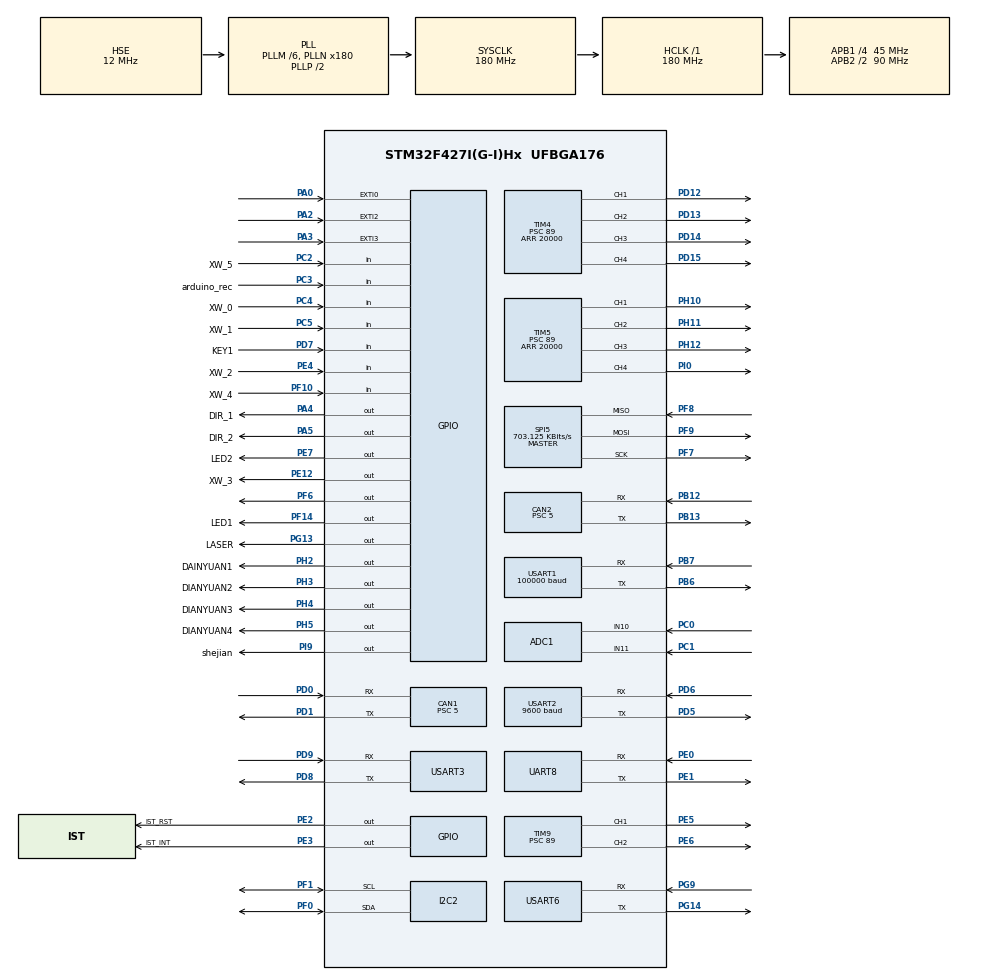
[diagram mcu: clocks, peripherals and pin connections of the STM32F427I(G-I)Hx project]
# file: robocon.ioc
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ADC1.Channel-0\#ChannelRegularConversion=ADC_CHANNEL_10
ADC1.Channel-1\#ChannelRegularConversion=ADC_CHANNEL_11
ADC1.ContinuousConvMode=ENABLE
ADC1.DMAContinuousRequests=ENABLE
ADC1.NbrOfConversion=2
ADC1.NbrOfConversionFlag=1
ADC1.Rank-0\#ChannelRegularConversion=1
ADC1.Rank-1\#ChannelRegularConversion=2
ADC1.SamplingTime-0\#ChannelRegularConversion=ADC_SAMPLETIME_3CYCLES
ADC1.SamplingTime-1\#ChannelRegularConversion=ADC_SAMPLETIME_3CYCLES
ADC1.ScanConvMode=ENABLE
ADC1.master=1
CAN1.ABOM=ENABLE
CAN1.BS1=CAN_BS1_3TQ
CAN1.BS2=CAN_BS2_5TQ
CAN1.CalculateBaudRate=1000000
CAN1.CalculateTimeBit=999.99
CAN1.CalculateTimeQuantum=111.11111111111111
CAN1.Prescaler=5
CAN1.SJW=CAN_SJW_1TQ
CAN2.ABOM=ENABLE
CAN2.BS1=CAN_BS1_3TQ
CAN2.BS2=CAN_BS2_5TQ
CAN2.CalculateBaudRate=1000000
CAN2.CalculateTimeBit=999.99
CAN2.CalculateTimeQuantum=111.11111111111111
CAN2.Prescaler=5
CAN2.SJW=CAN_SJW_1TQ
Dma.ADC1.3.Direction=DMA_PERIPH_TO_MEMORY
Dma.ADC1.3.FIFOMode=DMA_FIFOMODE_DISABLE
Dma.ADC1.3.Instance=DMA2_Stream0
Dma.ADC1.3.MemDataAlignment=DMA_MDATAALIGN_WORD
Dma.ADC1.3.MemInc=DMA_MINC_ENABLE
Dma.ADC1.3.Mode=DMA_CIRCULAR
Dma.ADC1.3.PeriphDataAlignment=DMA_PDATAALIGN_WORD
Dma.ADC1.3.PeriphInc=DMA_PINC_DISABLE
Dma.ADC1.3.Priority=DMA_PRIORITY_MEDIUM
Dma.Request0=USART1_RX
Dma.Request1=USART2_RX
Dma.Request2=USART6_RX
Dma.Request3=ADC1
Dma.Request4=USART2_TX
Dma.Request5=USART6_TX
Dma.USART1_RX.0.Direction=DMA_PERIPH_TO_MEMORY
Dma.USART1_RX.0.FIFOMode=DMA_FIFOMODE_DISABLE
Dma.USART1_RX.0.Instance=DMA2_Stream2
Dma.USART1_RX.0.MemDataAlignment=DMA_MDATAALIGN_BYTE
Dma.USART1_RX.0.MemInc=DMA_MINC_ENABLE
Dma.USART1_RX.0.Mode=DMA_CIRCULAR
Dma.USART1_RX.0.PeriphDataAlignment=DMA_PDATAALIGN_BYTE
Dma.USART1_RX.0.PeriphInc=DMA_PINC_DISABLE
Dma.USART1_RX.0.Priority=DMA_PRIORITY_MEDIUM
Dma.USART2_RX.1.Direction=DMA_PERIPH_TO_MEMORY
Dma.USART2_RX.1.FIFOMode=DMA_FIFOMODE_DISABLE
Dma.USART2_RX.1.Instance=DMA1_Stream5
Dma.USART2_RX.1.MemDataAlignment=DMA_MDATAALIGN_BYTE
Dma.USART2_RX.1.MemInc=DMA_MINC_ENABLE
Dma.USART2_RX.1.Mode=DMA_CIRCULAR
Dma.USART2_RX.1.PeriphDataAlignment=DMA_PDATAALIGN_BYTE
Dma.USART2_RX.1.PeriphInc=DMA_PINC_DISABLE
Dma.USART2_RX.1.Priority=DMA_PRIORITY_MEDIUM
Dma.USART2_TX.4.Direction=DMA_MEMORY_TO_PERIPH
Dma.USART2_TX.4.FIFOMode=DMA_FIFOMODE_DISABLE
Dma.USART2_TX.4.Instance=DMA1_Stream6
Dma.USART2_TX.4.MemDataAlignment=DMA_MDATAALIGN_BYTE
Dma.USART2_TX.4.MemInc=DMA_MINC_ENABLE
Dma.USART2_TX.4.Mode=DMA_NORMAL
Dma.USART2_TX.4.PeriphDataAlignment=DMA_PDATAALIGN_BYTE
Dma.USART2_TX.4.PeriphInc=DMA_PINC_DISABLE
Dma.USART2_TX.4.Priority=DMA_PRIORITY_MEDIUM
Dma.USART6_RX.2.Direction=DMA_PERIPH_TO_MEMORY
Dma.USART6_RX.2.FIFOMode=DMA_FIFOMODE_DISABLE
Dma.USART6_RX.2.Instance=DMA2_Stream1
Dma.USART6_RX.2.MemDataAlignment=DMA_MDATAALIGN_BYTE
Dma.USART6_RX.2.MemInc=DMA_MINC_ENABLE
Dma.USART6_RX.2.Mode=DMA_CIRCULAR
Dma.USART6_RX.2.PeriphDataAlignment=DMA_PDATAALIGN_BYTE
Dma.USART6_RX.2.PeriphInc=DMA_PINC_DISABLE
Dma.USART6_RX.2.Priority=DMA_PRIORITY_MEDIUM
Dma.USART6_TX.5.Direction=DMA_MEMORY_TO_PERIPH
Dma.USART6_TX.5.FIFOMode=DMA_FIFOMODE_DISABLE
Dma.USART6_TX.5.Instance=DMA2_Stream6
Dma.USART6_TX.5.MemDataAlignment=DMA_MDATAALIGN_BYTE
Dma.USART6_TX.5.MemInc=DMA_MINC_ENABLE
Dma.USART6_TX.5.Mode=DMA_NORMAL
Dma.USART6_TX.5.PeriphDataAlignment=DMA_PDATAALIGN_BYTE
Dma.USART6_TX.5.PeriphInc=DMA_PINC_DISABLE
Dma.USART6_TX.5.Priority=DMA_PRIORITY_MEDIUM
FREERTOS.Tasks01=defaultTask,0,128,StartDefaultTask,Default,NULL,Dynamic,NULL,NULL;myTask02,0,128,StartTask02,Default,NULL,Dynamic,NULL,NULL;myTask03,0,128,StartTask03,Default,NULL,Dynamic,NULL,NULL;myTask04,0,128,StartTask04,Default,NULL,Dynamic,NULL,NULL
Mcu.Family=STM32F4
Mcu.Name=STM32F427I(G-I)Hx
Mcu.Package=UFBGA176
NVIC.CAN1_RX0_IRQn=true\:5\:0\:false\:false\:true\:true\:true\:true
NVIC.CAN1_TX_IRQn=true\:5\:0\:false\:false\:true\:true\:true\:true
NVIC.CAN2_RX0_IRQn=true\:5\:0\:false\:false\:true\:false\:true\:true
NVIC.CAN2_TX_IRQn=true\:5\:0\:false\:false\:true\:false\:true\:true
NVIC.DMA1_Stream5_IRQn=true\:5\:0\:false\:false\:true\:true\:true\:true
NVIC.DMA1_Stream6_IRQn=true\:5\:0\:false\:false\:true\:true\:false\:true
NVIC.DMA2_Stream0_IRQn=true\:5\:0\:false\:false\:true\:true\:false\:true
NVIC.DMA2_Stream1_IRQn=true\:5\:0\:false\:false\:true\:true\:true\:true
NVIC.DMA2_Stream2_IRQn=true\:5\:0\:false\:false\:true\:true\:true\:true
NVIC.DMA2_Stream6_IRQn=true\:5\:0\:false\:false\:true\:true\:false\:true
NVIC.PriorityGroup=NVIC_PRIORITYGROUP_4
NVIC.TIM6_DAC_IRQn=true\:0\:0\:false\:false\:true\:false\:true\:true
NVIC.TIM7_IRQn=true\:5\:0\:false\:false\:true\:true\:true\:true
NVIC.TimeBase=TIM6_DAC_IRQn
NVIC.TimeBaseIP=TIM6
NVIC.UART8_IRQn=true\:5\:0\:false\:false\:true\:true\:true\:true
NVIC.USART1_IRQn=true\:5\:0\:true\:false\:true\:true\:true\:true
NVIC.USART2_IRQn=true\:5\:0\:true\:false\:true\:false\:true\:true
NVIC.USART6_IRQn=true\:5\:0\:true\:false\:true\:true\:true\:true
PA0/WKUP.Signal=GPXTI0
PA13.Mode=Serial_Wire
PA13.Signal=SYS_JTMS-SWDIO
PA14.Mode=Serial_Wire
PA14.Signal=SYS_JTCK-SWCLK
PA2.Signal=GPXTI2
PA3.Signal=GPXTI3
PA4.GPIO_Label=DIR_1
PA4.Signal=GPIO_Output
PA5.GPIO_Label=DIR_2
PA5.Signal=GPIO_Output
PB12.Mode=CAN_Activate
PB12.Signal=CAN2_RX
PB13.Mode=CAN_Activate
PB13.Signal=CAN2_TX
PB6.GPIO_PuPd=GPIO_PULLUP
PB6.Mode=Asynchronous
PB6.Signal=USART1_TX
PB7.GPIO_PuPd=GPIO_PULLUP
PB7.Mode=Asynchronous
PB7.Signal=USART1_RX
PC0.Signal=ADCx_IN10
PC1.Signal=ADCx_IN11
PC2.GPIO_Label=XW_5
PC2.GPIO_PuPd=GPIO_PULLUP
PC2.Signal=GPIO_Input
PC3.GPIO_Label=arduino_rec
PC3.GPIO_PuPd=GPIO_PULLUP
PC3.Signal=GPIO_Input
PC4.GPIO_Label=XW_0
PC4.GPIO_PuPd=GPIO_PULLUP
PC4.Signal=GPIO_Input
PC5.GPIO_Label=XW_1
PC5.GPIO_PuPd=GPIO_PULLUP
PC5.Signal=GPIO_Input
PD0.Mode=CAN_Activate
PD0.Signal=CAN1_RX
PD1.Mode=CAN_Activate
PD1.Signal=CAN1_TX
PD12.Signal=S_TIM4_CH1
PD13.Signal=S_TIM4_CH2
PD14.Signal=S_TIM4_CH3
PD15.Signal=S_TIM4_CH4
PD5.Mode=Asynchronous
PD5.Signal=USART2_TX
PD6.Mode=Asynchronous
PD6.Signal=USART2_RX
PD7.GPIO_Label=KEY1
PD7.Signal=GPIO_Input
PD8.Mode=Asynchronous
PD8.Signal=USART3_TX
PD9.Mode=Asynchronous
PD9.Signal=USART3_RX
PE0.Mode=Asynchronous
PE0.Signal=UART8_RX
PE1.Mode=Asynchronous
PE1.Signal=UART8_TX
PE12.GPIO_Label=XW_3
PE12.GPIO_Speed=GPIO_SPEED_FREQ_HIGH
PE12.PinState=GPIO_PIN_SET
PE12.Signal=GPIO_Output
PE2.GPIO_Label=IST_RST
PE2.PinState=GPIO_PIN_SET
PE2.Signal=GPIO_Output
PE3.GPIO_Label=IST_INT
PE3.Signal=GPIO_Output
PE4.GPIO_Label=XW_2
PE4.GPIO_PuPd=GPIO_PULLUP
PE4.Signal=GPIO_Input
PE5.Signal=S_TIM9_CH1
PE6.Signal=S_TIM9_CH2
PE7.GPIO_Label=LED2
PE7.Signal=GPIO_Output
PF0.Mode=I2C
PF0.Signal=I2C2_SDA
PF1.Mode=I2C
PF1.Signal=I2C2_SCL
PF10.GPIO_Label=XW_4
PF10.GPIO_PuPd=GPIO_PULLUP
PF10.Signal=GPIO_Input
PF14.GPIO_Label=LED1
PF14.Signal=GPIO_Output
PF6.Signal=GPIO_Output
PF7.Mode=Full_Duplex_Master
PF7.Signal=SPI5_SCK
PF8.Mode=Full_Duplex_Master
PF8.Signal=SPI5_MISO
PF9.Mode=Full_Duplex_Master
PF9.Signal=SPI5_MOSI
PG13.GPIO_Label=LASER
PG13.Signal=GPIO_Output
PG14.Mode=Asynchronous
PG14.Signal=USART6_TX
PG9.Mode=Asynchronous
PG9.Signal=USART6_RX
PH0/OSC_IN.Mode=HSE-External-Oscillator
PH0/OSC_IN.Signal=RCC_OSC_IN
PH1/OSC_OUT.Mode=HSE-External-Oscillator
PH1/OSC_OUT.Signal=RCC_OSC_OUT
PH10.Signal=S_TIM5_CH1
PH11.Signal=S_TIM5_CH2
PH12.Signal=S_TIM5_CH3
PH2.GPIO_Label=DAINYUAN1
PH2.GPIO_Speed=GPIO_SPEED_FREQ_MEDIUM
PH2.PinState=GPIO_PIN_SET
PH2.Signal=GPIO_Output
PH3.GPIO_Label=DIANYUAN2
PH3.GPIO_Speed=GPIO_SPEED_FREQ_MEDIUM
PH3.PinState=GPIO_PIN_SET
PH3.Signal=GPIO_Output
PH4.GPIO_Label=DIANYUAN3
PH4.GPIO_Speed=GPIO_SPEED_FREQ_MEDIUM
PH4.PinState=GPIO_PIN_SET
PH4.Signal=GPIO_Output
PH5.GPIO_Label=DIANYUAN4
PH5.GPIO_Speed=GPIO_SPEED_FREQ_MEDIUM
PH5.PinState=GPIO_PIN_SET
PH5.Signal=GPIO_Output
PI0.Signal=S_TIM5_CH4
PI9.GPIO_Label=shejian
PI9.Signal=GPIO_Output
ProjectManager.HeapSize=0x200
ProjectManager.StackSize=0x400
ProjectManager.TargetToolchain=MDK-ARM V5
RCC.48MHZClocksFreq_Value=90000000
RCC.AHBFreq_Value=180000000
RCC.APB1CLKDivider=RCC_HCLK_DIV4
RCC.APB1Freq_Value=45000000
RCC.APB1TimFreq_Value=90000000
RCC.APB2CLKDivider=RCC_HCLK_DIV2
RCC.APB2Freq_Value=90000000
RCC.APB2TimFreq_Value=180000000
RCC.CortexFreq_Value=180000000
RCC.HCLKFreq_Value=180000000
RCC.HSE_VALUE=12000000
RCC.HSI_VALUE=16000000
RCC.LSE_VALUE=32768
RCC.PLLM=6
RCC.PLLN=180
RCC.PLLSourceVirtual=RCC_PLLSOURCE_HSE
RCC.SYSCLKFreq_VALUE=180000000
RCC.SYSCLKSource=RCC_SYSCLKSOURCE_PLLCLK
RCC.VCOOutputFreq_Value=360000000
SH.ADCx_IN10.0=ADC1_IN10,IN10
SH.ADCx_IN11.0=ADC1_IN11,IN11
SH.S_TIM4_CH1.0=TIM4_CH1,PWM Generation1 CH1
SH.S_TIM4_CH2.0=TIM4_CH2,PWM Generation2 CH2
SH.S_TIM4_CH3.0=TIM4_CH3,PWM Generation3 CH3
SH.S_TIM4_CH4.0=TIM4_CH4,PWM Generation4 CH4
SH.S_TIM5_CH1.0=TIM5_CH1,PWM Generation1 CH1
SH.S_TIM5_CH2.0=TIM5_CH2,PWM Generation2 CH2
SH.S_TIM5_CH3.0=TIM5_CH3,PWM Generation3 CH3
SH.S_TIM5_CH4.0=TIM5_CH4,PWM Generation4 CH4
SH.S_TIM9_CH1.0=TIM9_CH1,PWM Generation1 CH1
SH.S_TIM9_CH2.0=TIM9_CH2,PWM Generation2 CH2
SPI5.BaudRatePrescaler=SPI_BAUDRATEPRESCALER_128
SPI5.CalculateBaudRate=703.125 KBits/s
SPI5.Direction=SPI_DIRECTION_2LINES
SPI5.Mode=SPI_MODE_MASTER
SPI5.VirtualType=VM_MASTER
TIM4.Channel-PWM\ Generation1\ CH1=TIM_CHANNEL_1
TIM4.Channel-PWM\ Generation2\ CH2=TIM_CHANNEL_2
TIM4.Channel-PWM\ Generation3\ CH3=TIM_CHANNEL_3
TIM4.Channel-PWM\ Generation4\ CH4=TIM_CHANNEL_4
TIM4.Period=20000
TIM4.Prescaler=89
TIM5.Channel-PWM\ Generation1\ CH1=TIM_CHANNEL_1
TIM5.Channel-PWM\ Generation2\ CH2=TIM_CHANNEL_2
TIM5.Channel-PWM\ Generation3\ CH3=TIM_CHANNEL_3
TIM5.Channel-PWM\ Generation4\ CH4=TIM_CHANNEL_4
TIM5.Period=20000
TIM5.Prescaler=89
TIM7.Period=5000
TIM7.Prescaler=89
TIM9.Channel-PWM\ Generation1\ CH1=TIM_CHANNEL_1
TIM9.Channel-PWM\ Generation2\ CH2=TIM_CHANNEL_2
TIM9.Period=20000
TIM9.Prescaler=89
UART8.VirtualMode=Asynchronous
USART1.BaudRate=100000
USART1.Parity=PARITY_EVEN
USART1.VirtualMode=VM_ASYNC
USART2.BaudRate=9600
USART2.VirtualMode=VM_ASYNC
USART3.VirtualMode=VM_ASYNC
USART6.VirtualMode=VM_ASYNC
VP_FREERTOS_VS_CMSIS_V1.Mode=CMSIS_V1
VP_SYS_VS_tim6.Mode=TIM6
VP_TIM7_VS_ClockSourceINT.Mode=Enable_Timer
board=demo

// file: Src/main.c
/* USER CODE BEGIN Header */
/**
  ******************************************************************************
  * @file           : main.c
  * @brief          : Main program body
  ******************************************************************************
  * @attention
  *
  * <h2><center>&copy; Copyright (c) 2021 STMicroelectronics.
  * All rights reserved.</center></h2>
  *
  * This software component is licensed by ST under Ultimate Liberty license
  * SLA0044, the "License"; You may not use this file except in compliance with
  * the License. You may obtain a copy of the License at:
  *                             www.st.com/SLA0044
  *
  ******************************************************************************
  */
/* USER CODE END Header */
#include "main.h"
#include "cmsis_os.h"
#include "adc.h"
#include "can.h"
#include "dma.h"
#include "i2c.h"
#include "spi.h"
#include "tim.h"
#include "usart.h"
#include "gpio.h"

/* USER CODE BEGIN Includes */
#include "stm32f4xx_hal.h"
#include "bsp_imu.h"
#include "stdio.h"
#include "bsp_uart.h"
#include "moter.h"
#include "control.h"
#include "bsp_can.h"
#include "task.h"
#define BUFFER_SIZE 100
volatile uint8_t rx_len = 0, rx_len2 = 0, rx_len3 = 0;                      //接收一帧数据的长度
volatile uint8_t recv_end_flag = 0, recv_end_flag2 = 0, recv_end_flag3 = 0,recv_cmd_flag2=0; //一帧数据接收完成标志
uint8_t rx_buffer[100] = {0}, rx_buffer2[100] = {0}, rx_buffer3[100] = {0}; //接收数据缓存数组
extern DMA_HandleTypeDef hdma_usart6_rx;
extern rc_info_t rc;
extern float orignal_yaw, yaw;

/* USER CODE END Includes */

/* USER CODE BEGIN PV */
/* Private variables ---------------------------------------------------------*/

/* USER CODE END PV */

void SystemClock_Config(void);
void MX_FREERTOS_Init(void);
/* USER CODE BEGIN PFP */
/* Private function prototypes -----------------------------------------------*/

/* USER CODE END PFP */

/* USER CODE BEGIN 0 */
void HAL_UART_RxCpltCallback(UART_HandleTypeDef *huart)
{
  /* Prevent unused argument(s) compilation warning */
  UNUSED(huart);
  /* NOTE: This function should not be modified, when the callback is needed,
             the HAL_UART_RxCpltCallback could be implemented in the user file
     */
}
/* USER CODE END 0 */

int main(void)
{

  /* MCU Configuration--------------------------------------------------------*/

  /* Reset of all peripherals, Initializes the Flash interface and the Systick. */
  HAL_Init();

  /* Configure the system clock */
  SystemClock_Config();

  /* Initialize all configured peripherals */
  MX_GPIO_Init();
  MX_DMA_Init();
  MX_CAN1_Init();
  MX_CAN2_Init();
  MX_SPI5_Init();
  MX_USART1_UART_Init();
  MX_USART2_UART_Init();
  MX_USART6_UART_Init();
  MX_ADC1_Init();
  MX_TIM7_Init();
  MX_USART3_UART_Init();
  MX_TIM9_Init();
  MX_TIM4_Init();
  MX_TIM5_Init();
  MX_I2C2_Init();
  MX_UART8_Init();
  /* USER CODE BEGIN 2 */
  HAL_TIM_PWM_Start(&htim9, TIM_CHANNEL_1);
  HAL_TIM_PWM_Start(&htim9, TIM_CHANNEL_2);
	HAL_TIM_PWM_Start(&htim4, TIM_CHANNEL_1);
	HAL_TIM_PWM_Start(&htim4, TIM_CHANNEL_2);
	HAL_TIM_PWM_Start(&htim4, TIM_CHANNEL_3);
	HAL_TIM_PWM_Start(&htim4, TIM_CHANNEL_4);
  dbus_uart_init(); //dbus
  mpu_device_init();
	init_quaternion();

  ////    HAL_Delay(2000);
  /* USER CODE END 2 */

  /* Call init function for freertos objects (in freertos.c) */
  MX_FREERTOS_Init();
  /* Start scheduler */
  osKernelStart();

  /* We should never get here as control is now taken by the scheduler */
  /* Infinite loop */
  while (1)
  {

  }
}

void SystemClock_Config(void)
{
  RCC_OscInitTypeDef RCC_OscInitStruct = {0};
  RCC_ClkInitTypeDef RCC_ClkInitStruct = {0};

  /** Configure the main internal regulator output voltage
  */
  __HAL_RCC_PWR_CLK_ENABLE();
  __HAL_PWR_VOLTAGESCALING_CONFIG(PWR_REGULATOR_VOLTAGE_SCALE1);
  /** Initializes the RCC Oscillators according to the specified parameters
  * in the RCC_OscInitTypeDef structure.
  */
  RCC_OscInitStruct.OscillatorType = RCC_OSCILLATORTYPE_HSE;
  RCC_OscInitStruct.HSEState = RCC_HSE_ON;
  RCC_OscInitStruct.PLL.PLLState = RCC_PLL_ON;
  RCC_OscInitStruct.PLL.PLLSource = RCC_PLLSOURCE_HSE;
  RCC_OscInitStruct.PLL.PLLM = 6;
  RCC_OscInitStruct.PLL.PLLN = 180;
  RCC_OscInitStruct.PLL.PLLP = RCC_PLLP_DIV2;
  RCC_OscInitStruct.PLL.PLLQ = 4;
  if (HAL_RCC_OscConfig(&RCC_OscInitStruct) != HAL_OK)
  {
    Error_Handler();
  }
  /** Activate the Over-Drive mode
  */
  if (HAL_PWREx_EnableOverDrive() != HAL_OK)
  {
    Error_Handler();
  }
  /** Initializes the CPU, AHB and APB buses clocks
  */
  RCC_ClkInitStruct.ClockType = RCC_CLOCKTYPE_HCLK|RCC_CLOCKTYPE_SYSCLK
                              |RCC_CLOCKTYPE_PCLK1|RCC_CLOCKTYPE_PCLK2;
  RCC_ClkInitStruct.SYSCLKSource = RCC_SYSCLKSOURCE_PLLCLK;
  RCC_ClkInitStruct.AHBCLKDivider = RCC_SYSCLK_DIV1;
  RCC_ClkInitStruct.APB1CLKDivider = RCC_HCLK_DIV4;
  RCC_ClkInitStruct.APB2CLKDivider = RCC_HCLK_DIV2;

  if (HAL_RCC_ClockConfig(&RCC_ClkInitStruct, FLASH_LATENCY_5) != HAL_OK)
  {
    Error_Handler();
  }
}

 /**
  * @brief  Period elapsed callback in non blocking mode
  * @note   This function is called  when TIM6 interrupt took place, inside
  * HAL_TIM_IRQHandler(). It makes a direct call to HAL_IncTick() to increment
  * a global variable "uwTick" used as application time base.
  * @param  htim : TIM handle
  * @retval None
  */
void HAL_TIM_PeriodElapsedCallback(TIM_HandleTypeDef *htim)
{
  /* USER CODE BEGIN Callback 0 */
  if (htim->Instance == TIM7)
  {

    if (rc.sw1 == 1)                                                                                               //模式一  自动模式
    {
			 set_c620moter(c620_moter.distance[0], c620_moter.distance[1], c620_moter.distance[2], c620_moter.distance[3],c620_moter.distance[4]);
       setMotor(kinematics.exp_vel[0].speed, kinematics.exp_vel[1].speed, kinematics.exp_vel[2].speed, kinematics.exp_vel[3].speed);
    }
    else if (rc.sw1 == 2) //模式二 遥控模式
    {
      Speed_Cal(rc.ch4 / 250.0f, rc.ch3 / 250.0f, rc.ch2 / 660.f);
      setMotor(kinematics.exp_vel[0].speed,kinematics.exp_vel[1].speed,kinematics.exp_vel[2].speed,kinematics.exp_vel[3].speed);
    }
    else if (rc.sw1 == 3 || rc.sw1 == 0) //模式三 保险模式
    {
			set_moto_current(&hcan1, 0,0,0,0);
			set_moto2_current(&hcan1, 0,0,0,0);
			set_moto_current(&hcan2, 0,0,0,0);
			set_moto2_current(&hcan2, 0,0,0,0);
    }
  }

  /* USER CODE END Callback 0 */
  if (htim->Instance == TIM6) {
    HAL_IncTick();
  }
}

void Error_Handler(void)
{
  __disable_irq();
  while (1)
  {
  }
}

/************************ (C) COPYRIGHT STMicroelectronics *****END OF FILE****/

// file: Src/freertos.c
/* USER CODE BEGIN Header */
/**
  ******************************************************************************
  * File Name          : freertos.c
  * Description        : Code for freertos applications
  ******************************************************************************
  * @attention
  *
  * <h2><center>&copy; Copyright (c) 2021 STMicroelectronics.
  * All rights reserved.</center></h2>
  *
  * This software component is licensed by ST under Ultimate Liberty license
  * SLA0044, the "License"; You may not use this file except in compliance with
  * the License. You may obtain a copy of the License at:
  *                             www.st.com/SLA0044
  *
  ******************************************************************************
  */
/* USER CODE END Header */

#include "FreeRTOS.h"
#include "task.h"
#include "main.h"
#include "cmsis_os.h"

/* USER CODE BEGIN Includes */
#include "pid.h"
#include "bsp_can.h"
#include "mytype.h"
#include "tim.h"
#include "stdio.h"
#include "moter.h"
#include "main.h"

/* USER CODE END Includes */

/* USER CODE BEGIN PTD */
#include "bsp_imu.h"
#include "bsp_uart.h"
#include "control.h"
#include "stm32_pca9685.h"

extern UART_HandleTypeDef huart6;
extern ADC_HandleTypeDef hadc1;
extern rc_info_t rc;
uint32_t ADC_Value[30];
uint32_t ad1, ad2;
float tuolun_angle[2] = {0}, pre_angle[2] = {0};
#define fab(x) x > 0 ? x : -x
float orignal_yaw = 0.0f;
#define COUNTOF(__BUFFER__) (sizeof(__BUFFER__) / sizeof(*(__BUFFER__)))
extern float yaw;//串口imu的yaw
extern volatile uint8_t rx_len, rx_len2, rx_len3;                      //接收一帧数据的长度
extern volatile uint8_t recv_end_flag, recv_end_flag2, recv_end_flag3,recv_cmd_flag2; //一帧数据接收完成标志
extern uint8_t rx_buffer[100], rx_buffer2[100], rx_buffer3[100];       //接收数据缓存数组
int big_flag=0;//串口屏的接受标志
/* USER CODE END PTD */

osThreadId defaultTaskHandle;
osThreadId myTask02Handle;
osThreadId myTask03Handle;
osThreadId myTask04Handle;

/* USER CODE BEGIN FunctionPrototypes */
void set_total_angle(moto_measure_t *p, moto_measure_t *p1, int angle, u8 dir, u16 speed); //
void weizhihuan(moto_measure_t *p, float angle);
void weizhihuan_duolun(moto_measure_t *p, float mesure, float angle);
extern TIM_HandleTypeDef htim7;
float oringal_yaw = 0.0f;
float exp_jiaou=260.2f;
extern rc_info_t rc;
/* USER CODE END FunctionPrototypes */

void StartDefaultTask(void const * argument);
void StartTask02(void const * argument);
void StartTask03(void const * argument);
void StartTask04(void const * argument);

void MX_FREERTOS_Init(void); /* (MISRA C 2004 rule 8.1) */

/* GetIdleTaskMemory prototype (linked to static allocation support) */
void vApplicationGetIdleTaskMemory( StaticTask_t **ppxIdleTaskTCBBuffer, StackType_t **ppxIdleTaskStackBuffer, uint32_t *pulIdleTaskStackSize );

/* USER CODE BEGIN GET_IDLE_TASK_MEMORY */
static StaticTask_t xIdleTaskTCBBuffer;
static StackType_t xIdleStack[configMINIMAL_STACK_SIZE];

void vApplicationGetIdleTaskMemory(StaticTask_t **ppxIdleTaskTCBBuffer, StackType_t **ppxIdleTaskStackBuffer, uint32_t *pulIdleTaskStackSize)
{
  *ppxIdleTaskTCBBuffer = &xIdleTaskTCBBuffer;
  *ppxIdleTaskStackBuffer = &xIdleStack[0];
  *pulIdleTaskStackSize = configMINIMAL_STACK_SIZE;
  /* place for user code */
}
/* USER CODE END GET_IDLE_TASK_MEMORY */

void MX_FREERTOS_Init(void) {

  /* Create the thread(s) */
  /* definition and creation of defaultTask */
  osThreadDef(defaultTask, StartDefaultTask, osPriorityNormal, 0, 128);
  defaultTaskHandle = osThreadCreate(osThread(defaultTask), NULL);

  /* definition and creation of myTask02 */
  osThreadDef(myTask02, StartTask02, osPriorityNormal, 0, 128);
  myTask02Handle = osThreadCreate(osThread(myTask02), NULL);

  /* definition and creation of myTask03 */
  osThreadDef(myTask03, StartTask03, osPriorityNormal, 0, 128);
  myTask03Handle = osThreadCreate(osThread(myTask03), NULL);

  /* definition and creation of myTask04 */
  osThreadDef(myTask04, StartTask04, osPriorityNormal, 0, 128);
  myTask04Handle = osThreadCreate(osThread(myTask04), NULL);

}

void StartDefaultTask(void const * argument)
{
  /* USER CODE BEGIN StartDefaultTask */
  my_can_filter_init_recv_all(&hcan1);
  can_filter_recv_special(&hcan2);
  HAL_CAN_ActivateNotification(&hcan1, CAN_IT_RX_FIFO0_MSG_PENDING); // Enable interrupts
  HAL_CAN_ActivateNotification(&hcan2, CAN_IT_RX_FIFO0_MSG_PENDING); // Enable interrupts
  duo_lun_speed_init();//底盘车的pid初始化
  Kinematics_Init();//刚体运动学初始化
  C610_init();
//  set_exp(60, 60);
  __HAL_UART_ENABLE_IT(&huart6, UART_IT_IDLE);
  HAL_UART_Receive_DMA(&huart6, rx_buffer, 100);
  __HAL_UART_ENABLE_IT(&huart2, UART_IT_IDLE);
  HAL_UART_Receive_DMA(&huart2, rx_buffer2, 100);
  PID_struct_init(&yaw_pos, DELTA_PID, 4500,20000,30.0f,0.0f,0.0f);           //转向环
  PID_struct_init(&PID_Position_X, POSITION_PID, 6500,20000,10.0f,0.0f,0.0f); //x方向
  PID_struct_init(&PID_Position_Y, POSITION_PID, 6500,20000,10.0f,0.0f,0.0f); //y方向
  send_com(&huart2, 0x38);//imu_init
  osDelay(1000);
  orignal_yaw = yaw;
	__HAL_TIM_SetCompare(&htim9, TIM_CHANNEL_2, 2200);
  for (int i = 0; i < 8; i++)
    moto_chassis[i].total_angle = 0; //清零
	 HAL_TIM_Base_Start_IT(&htim7);
	 PCA_MG9XX_Init(50,0);//pca9685初始化

//	 __HAL_TIM_SetCompare(&htim4, TIM_CHANNEL_1, 2000);
//		__HAL_TIM_SetCompare(&htim4, TIM_CHANNEL_1, 1000);
//	 __HAL_TIM_SetCompare(&htim4, TIM_CHANNEL_2, 15000);
//	 __HAL_TIM_SetCompare(&htim4, TIM_CHANNEL_3, 20000);
//	 set_high(215);
//	 osDelay(1500);
//  init_guiwei(); //初始化机械臂 归为
  for (;;)
  {
//	  printf("%d\r\n",c2006_chassis[2].speed_rpm);
		printf("%f %f %f %d\r\n",jiguag_data1[0],jiguag_data1[1],yaw,rc.sw1);
//		printf("%f  %f \r\n",tuolun_angle[0],tuolun_angle[1]);
//		qujian();
//	if(big_flag)//串口屏的操作
//	{

//		set_high(cmd_data[0].shuju/10.0f);
//		c620_moter.distance[0] = cmd_data[1].shuju*1.2*819.2f;//pian yi jiaodu
//		Archery_action(cmd_data[2].shuju/10.0f);
//		big_flag=0;
//	}
    //Calculate(rc.ch4 / 250.0f, rc.ch3 / 400.0f, rc.ch2 / 600.0f, -999);
    osDelay(5);
  }
  /* USER CODE END StartDefaultTask */
}

void StartTask02(void const * argument)
{
  /* USER CODE BEGIN StartTask02 */
  u8 i;

  float yingzi = 0.1;
  HAL_ADC_Start_DMA(&hadc1, (uint32_t *)&ADC_Value, 30);
  /* Infinite loop */
  for (;;)
  {
    for (i = 0, ad1 = ad2= 0; i < 30;)
    {
      ad1 += ADC_Value[i++];
      ad2 += ADC_Value[i++];

    }
    ad1 /= 15;
    ad2 /= 15;
    pre_angle[0] = 360 * (ad1 / 4096.0f) ; //(ad1 * 3.3f * 110.0917f) / (4096 * (3.26 / 3.3));//(ad1 * 3.3f * 110.0917f) / (4096 * (3.26 / 3.3))
    pre_angle[1] = 360 * (ad2 / 4096.0f) ;
    tuolun_angle[0] = yingzi * tuolun_angle[0] + (1 - yingzi) * pre_angle[0]; //低通滤波
    tuolun_angle[1] = yingzi * tuolun_angle[1] + (1 - yingzi) * pre_angle[1];
    osDelay(5);
  }
  /* USER CODE END StartTask02 */
}

/* USER CODE BEGIN Header_StartTask03 */
/*
* @brief Function implementing the myTask03 thread.
* @param argument: Not used
* @retval None
*/
/* USER CODE END Header_StartTask03 */
void StartTask03(void const * argument)
{
  /* USER CODE BEGIN StartTask03 */
  /* Infinite loop */
  for (;;)
  {
	 mpu_get_data();
	 imu_ahrs_update();
	 imu_attitude_update();
//   set_duojjiaodu(exp_jiaou);
    if (recv_end_flag == 1) //接收完成标志
    {
      HAL_UART_Transmit_DMA(&huart6, rx_buffer, rx_len);
      rx_len = 0;        //清除计数
      recv_end_flag = 0; //清除接收结束标志位
      memset(rx_buffer, 0, rx_len);
      HAL_UART_Receive_DMA(&huart6, rx_buffer, 100); //重新打开DMA接收z
    }
    if (recv_end_flag2 == 1) //接收完成标志
    {
//       HAL_UART_Transmit_DMA(&huart2, rx_buffer2, rx_len2);
       rx_len2 = 0;        //清除计数
      recv_end_flag2 = 0; //清除接收结束标志位
      HAL_UART_Receive_DMA(&huart2, rx_buffer2, 100); //重新打开DMA接收z
    }
//		if (recv_cmd_flag2 == 1) //接收完成标志
//    {
//      // HAL_UART_Transmit_DMA(&huart2, rx_buffer2, rx_len2);
//      // rx_len2 = 0;        //清除计数
//      recv_cmd_flag2 = 0; //清除接收结束标志位
//      // memset(rx_buffer2, 0, rx_len2);
//			for(int i=0;i<3;i++)
//			{
//				printf("%f  ",cmd_data[i].shuju/10.0f);
//			}
//			printf("\r\n");
//			big_flag=1;
////			Archery_action(cmd_data[2].shuju/10.0f);
//      HAL_UART_Receive_DMA(&huart2, rx_buffer2, 100); //重新打开DMA接收z
//    }
    //        printf("AD1_value=%1.3f AD2_value=%1.3f AD3_value=%1.3f AD5_value=%1.3f\r\n ", tuolun_angle[0], tuolun_angle[1],tuolun_angle[2],tuolun_angle[4]);
    osDelay(5);
  }
  /* USER CODE END StartTask03 */
}

void StartTask04(void const * argument)
{
  /* USER CODE BEGIN StartTask04 */
  /* Infinite loop */

  for (;;)
  {
    if (rc.sw1 == 1)
		{
			 osDelay(5);
		}
//      set_point(data1, data2);
//		  read_data();
//   	printf("  ceiju=%1.3f\r\n ",jiguag_data1[3]);
//   		printf("%f  %f   %f\r\n",data1,data2,kinematics.exp_vel[0].speed);
//    		sprintf(buf, "CH1: %4d  CH2: %4d  CH3: %4d  CH4: %4d  SW1: %1d  SW2: %1d \r\n", rc.ch1, rc.ch2, rc.ch3, rc.ch4, rc.sw1, rc.sw2);
//        HAL_UART_Transmit(&huart6, (uint8_t *)buf, (COUNTOF(buf) - 1), 0xffff);
    osDelay(5);
  }
  /* USER CODE END StartTask04 */
}

/************************ (C) COPYRIGHT STMicroelectronics *****END OF FILE****/
